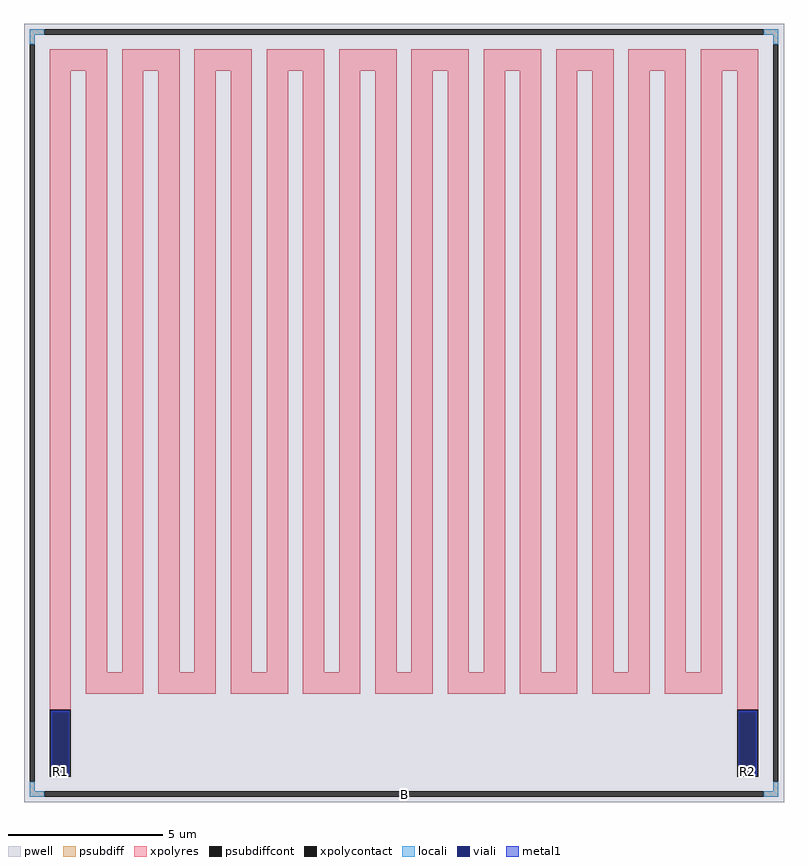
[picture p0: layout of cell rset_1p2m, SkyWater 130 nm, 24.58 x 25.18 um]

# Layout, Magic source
magic
tech sky130A
magscale 1 2
<< pwell >>
rect -2458 -2518 2458 2518
<< psubdiff >>
rect -2422 2448 -2326 2482
rect 2326 2448 2422 2482
rect -2422 2386 -2388 2448
rect 2388 2386 2422 2448
rect -2422 -2448 -2388 -2386
rect 2388 -2448 2422 -2386
rect -2422 -2482 -2326 -2448
rect 2326 -2482 2422 -2448
<< psubdiffcont >>
rect -2326 2448 2326 2482
rect -2422 -2386 -2388 2386
rect 2388 -2386 2422 2386
rect -2326 -2482 2326 -2448
<< xpolycontact >>
rect -2292 -2352 -2154 -1920
rect 2154 -2352 2292 -1920
<< xpolyres >>
rect -2292 2214 -1920 2352
rect -2292 -1920 -2154 2214
rect -2058 -1678 -1920 2214
rect -1824 2214 -1452 2352
rect -1824 -1678 -1686 2214
rect -2058 -1816 -1686 -1678
rect -1590 -1678 -1452 2214
rect -1356 2214 -984 2352
rect -1356 -1678 -1218 2214
rect -1590 -1816 -1218 -1678
rect -1122 -1678 -984 2214
rect -888 2214 -516 2352
rect -888 -1678 -750 2214
rect -1122 -1816 -750 -1678
rect -654 -1678 -516 2214
rect -420 2214 -48 2352
rect -420 -1678 -282 2214
rect -654 -1816 -282 -1678
rect -186 -1678 -48 2214
rect 48 2214 420 2352
rect 48 -1678 186 2214
rect -186 -1816 186 -1678
rect 282 -1678 420 2214
rect 516 2214 888 2352
rect 516 -1678 654 2214
rect 282 -1816 654 -1678
rect 750 -1678 888 2214
rect 984 2214 1356 2352
rect 984 -1678 1122 2214
rect 750 -1816 1122 -1678
rect 1218 -1678 1356 2214
rect 1452 2214 1824 2352
rect 1452 -1678 1590 2214
rect 1218 -1816 1590 -1678
rect 1686 -1678 1824 2214
rect 1920 2214 2292 2352
rect 1920 -1678 2058 2214
rect 1686 -1816 2058 -1678
rect 2154 -1920 2292 2214
<< locali >>
rect -2422 2448 -2326 2482
rect 2326 2448 2422 2482
rect -2422 2386 -2388 2448
rect 2388 2386 2422 2448
rect -2422 -2448 -2388 -2386
rect 2388 -2448 2422 -2386
rect -2422 -2482 -2326 -2448
rect 2326 -2482 2422 -2448
<< viali >>
rect -2276 -2334 -2170 -1937
rect 2170 -2334 2276 -1937
<< metal1 >>
rect -2282 -1937 -2164 -1925
rect -2282 -2334 -2276 -1937
rect -2170 -2334 -2164 -1937
rect -2282 -2346 -2164 -2334
rect 2164 -1937 2282 -1925
rect 2164 -2334 2170 -1937
rect 2276 -2334 2282 -1937
rect 2164 -2346 2282 -2334
<< labels >>
rlabel psubdiffcont 0 -2465 0 -2465 0 B
port 1 nsew
rlabel xpolycontact -2223 -2317 -2223 -2317 0 R1
port 2 nsew
rlabel xpolycontact 2223 -2317 2223 -2317 0 R2
port 3 nsew
<< properties >>
string FIXED_BBOX -2405 -2465 2405 2465
<< end >>
